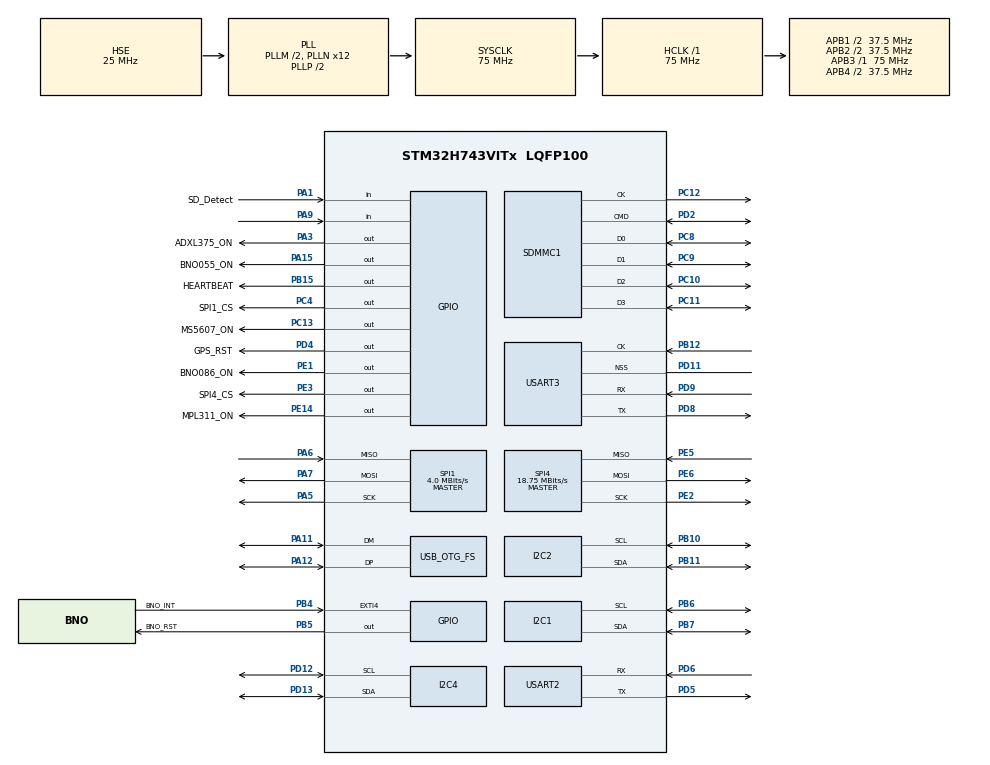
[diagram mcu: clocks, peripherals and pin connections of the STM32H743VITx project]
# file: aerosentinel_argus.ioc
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CORTEX_M7.default_mode_Activation=1
FATFS.BSP.number=1
FATFS0.BSP.STBoard=false
FATFS0.BSP.api=Unknown
FATFS0.BSP.instance=PA1
FATFS0.BSP.ip=GPIO
FATFS0.BSP.mode=Input
FATFS0.BSP.name=Detect_SDIO
FATFS0.BSP.solution=PA1
I2C1.Timing=0x00909FCE
I2C2.Timing=0x00909FCE
I2C4.Timing=0x00909FCE
Mcu.Family=STM32H7
Mcu.Name=STM32H743VITx
Mcu.Package=LQFP100
NVIC.EXTI4_IRQn=true\:0\:0\:false\:false\:true\:true\:true\:true
NVIC.OTG_FS_IRQn=true\:0\:0\:false\:false\:true\:false\:true\:true
NVIC.PriorityGroup=NVIC_PRIORITYGROUP_4
NVIC.TIM2_IRQn=true\:0\:0\:false\:false\:true\:true\:true\:true
PA1.GPIO_Label=SD_Detect
PA1.GPIO_PuPd=GPIO_PULLDOWN
PA1.Signal=GPIO_Input
PA11.Mode=Device_Only
PA11.Signal=USB_OTG_FS_DM
PA12.Mode=Device_Only
PA12.Signal=USB_OTG_FS_DP
PA13\ (JTMS/SWDIO).Mode=Trace_Asynchronous_SW
PA13\ (JTMS/SWDIO).Signal=DEBUG_JTMS-SWDIO
PA14\ (JTCK/SWCLK).Mode=Trace_Asynchronous_SW
PA14\ (JTCK/SWCLK).Signal=DEBUG_JTCK-SWCLK
PA15\ (JTDI).GPIO_Label=BNO055_ON
PA15\ (JTDI).PinState=GPIO_PIN_SET
PA15\ (JTDI).Signal=GPIO_Output
PA3.GPIO_Label=ADXL375_ON
PA3.PinState=GPIO_PIN_SET
PA3.Signal=GPIO_Output
PA5.Mode=Full_Duplex_Master
PA5.Signal=SPI1_SCK
PA6.Mode=Full_Duplex_Master
PA6.Signal=SPI1_MISO
PA7.Mode=Full_Duplex_Master
PA7.Signal=SPI1_MOSI
PA9.Signal=GPIO_Input
PB10.Mode=I2C
PB10.Signal=I2C2_SCL
PB11.Mode=I2C
PB11.Signal=I2C2_SDA
PB12.Mode=Synchronous Slave
PB12.Signal=USART3_CK
PB15.GPIO_Label=HEARTBEAT
PB15.Signal=GPIO_Output
PB3\ (JTDO/TRACESWO).Mode=Trace_Asynchronous_SW
PB3\ (JTDO/TRACESWO).Signal=DEBUG_JTDO-SWO
PB4\ (NJTRST).GPIO_Label=BNO_INT
PB4\ (NJTRST).GPIO_ModeDefaultEXTI=GPIO_MODE_IT_FALLING
PB4\ (NJTRST).GPIO_PuPd=GPIO_PULLUP
PB4\ (NJTRST).Signal=GPXTI4
PB5.GPIO_Label=BNO_RST
PB5.Signal=GPIO_Output
PB6.Mode=I2C
PB6.Signal=I2C1_SCL
PB7.Mode=I2C
PB7.Signal=I2C1_SDA
PC10.Mode=SD_4_bits_Wide_bus
PC10.Signal=SDMMC1_D2
PC11.Mode=SD_4_bits_Wide_bus
PC11.Signal=SDMMC1_D3
PC12.Mode=SD_4_bits_Wide_bus
PC12.Signal=SDMMC1_CK
PC13.GPIO_Label=MS5607_ON
PC13.PinState=GPIO_PIN_SET
PC13.Signal=GPIO_Output
PC14-OSC32_IN\ (OSC32_IN).Mode=LSE-External-Oscillator
PC14-OSC32_IN\ (OSC32_IN).Signal=RCC_OSC32_IN
PC15-OSC32_OUT\ (OSC32_OUT).Mode=LSE-External-Oscillator
PC15-OSC32_OUT\ (OSC32_OUT).Signal=RCC_OSC32_OUT
PC4.GPIO_Label=SPI1_CS
PC4.Signal=GPIO_Output
PC8.Mode=SD_4_bits_Wide_bus
PC8.Signal=SDMMC1_D0
PC9.Mode=SD_4_bits_Wide_bus
PC9.Signal=SDMMC1_D1
PD11.Mode=Hardware NSS Management
PD11.Signal=USART3_NSS
PD12.Mode=I2C
PD12.Signal=I2C4_SCL
PD13.Mode=I2C
PD13.Signal=I2C4_SDA
PD2.Mode=SD_4_bits_Wide_bus
PD2.Signal=SDMMC1_CMD
PD4.GPIO_Label=GPS_RST
PD4.Signal=GPIO_Output
PD5.Mode=Asynchronous
PD5.Signal=USART2_TX
PD6.Mode=Asynchronous
PD6.Signal=USART2_RX
PD8.Mode=Synchronous Slave
PD8.Signal=USART3_TX
PD9.Mode=Synchronous Slave
PD9.Signal=USART3_RX
PE1.GPIO_Label=BNO086_ON
PE1.PinState=GPIO_PIN_SET
PE1.Signal=GPIO_Output
PE14.GPIO_Label=MPL311_ON
PE14.PinState=GPIO_PIN_SET
PE14.Signal=GPIO_Output
PE2.Mode=Full_Duplex_Master
PE2.Signal=SPI4_SCK
PE3.GPIO_Label=SPI4_CS
PE3.Signal=GPIO_Output
PE5.Mode=Full_Duplex_Master
PE5.Signal=SPI4_MISO
PE6.Mode=Full_Duplex_Master
PE6.Signal=SPI4_MOSI
PH0-OSC_IN\ (PH0).Mode=HSE-External-Oscillator
PH0-OSC_IN\ (PH0).Signal=RCC_OSC_IN
PH1-OSC_OUT\ (PH1).Mode=HSE-External-Oscillator
PH1-OSC_OUT\ (PH1).Signal=RCC_OSC_OUT
ProjectManager.HeapSize=0x200
ProjectManager.StackSize=0x400
ProjectManager.TargetToolchain=STM32CubeIDE
RCC.ADCFreq_Value=50390625
RCC.APB1Freq_Value=37500000
RCC.APB2Freq_Value=37500000
RCC.APB3Freq_Value=75000000
RCC.APB4Freq_Value=37500000
RCC.CortexFreq_Value=75000000
RCC.D2PPRE1=RCC_APB1_DIV2
RCC.D2PPRE2=RCC_APB2_DIV2
RCC.D3PPRE=RCC_APB4_DIV2
RCC.DIVM1=2
RCC.DIVN1=12
RCC.DIVQ1=3
RCC.EnbaleCSS=true
RCC.HCLKFreq_Value=75000000
RCC.PLL2FRACN=0
RCC.PLL3FRACN=0
RCC.PLLFRACN=0
RCC.PLLSourceVirtual=RCC_PLLSOURCE_HSE
RCC.SPI123CLockSelection=RCC_SPI123CLKSOURCE_CLKP
RCC.SYSCLKFreq_VALUE=75000000
RCC.SYSCLKSource=RCC_SYSCLKSOURCE_PLLCLK
RCC.USBCLockSelection=RCC_USBCLKSOURCE_HSI48
RCC.USBFreq_Value=48000000
SDMMC1.ClockDiv=0
SPI1.BaudRatePrescaler=SPI_BAUDRATEPRESCALER_16
SPI1.CLKPhase=SPI_PHASE_2EDGE
SPI1.CLKPolarity=SPI_POLARITY_HIGH
SPI1.CalculateBaudRate=4.0 MBits/s
SPI1.DataSize=SPI_DATASIZE_8BIT
SPI1.Direction=SPI_DIRECTION_2LINES
SPI1.Mode=SPI_MODE_MASTER
SPI1.VirtualType=VM_MASTER
SPI4.CalculateBaudRate=18.75 MBits/s
SPI4.Direction=SPI_DIRECTION_2LINES
SPI4.Mode=SPI_MODE_MASTER
SPI4.VirtualType=VM_MASTER
TIM2.AutoReloadPreload=TIM_AUTORELOAD_PRELOAD_ENABLE
TIM2.Period=74
USART2.VirtualMode-Asynchronous=VM_ASYNC
USART3.VirtualMode-Synchronous\ Slave=VM_SYNC
USB_DEVICE.CLASS_NAME_FS=MSC
USB_DEVICE.VirtualMode-MSC_FS=Msc
USB_DEVICE.VirtualModeFS=Msc_FS
USB_OTG_FS.VirtualMode=Device_Only
VP_FATFS_VS_SDIO.Mode=SDIO
VP_MEMORYMAP_VS_MEMORYMAP.Mode=CurAppReg
VP_TIM2_VS_ClockSourceINT.Mode=Internal
VP_USB_DEVICE_VS_USB_DEVICE_MSC_FS.Mode=MSC_FS
board=custom

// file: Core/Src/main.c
/* USER CODE BEGIN Header */
/**
  ******************************************************************************
  * @file           : main.c
  * @brief          : Main program body
  ******************************************************************************
  * @attention
  *
  * Copyright (c) 2024 STMicroelectronics.
  * All rights reserved.
  *
  * This software is licensed under terms that can be found in the LICENSE file
  * in the root directory of this software component.
  * If no LICENSE file comes with this software, it is provided AS-IS.
  *
  ******************************************************************************
  */
/* USER CODE END Header */
#include "main.h"
#include "fatfs.h"
#include "usb_device.h"

/* USER CODE BEGIN Includes */
#include "stdio.h" // printf function
#include "DATA_MANAGEMENT/telemetry_manager.h"
#include "DRIVERS/BNO086/bno086.h"
/* USER CODE END Includes */

I2C_HandleTypeDef hi2c1;
I2C_HandleTypeDef hi2c2;
I2C_HandleTypeDef hi2c4;

SD_HandleTypeDef hsd1;

SPI_HandleTypeDef hspi1;
SPI_HandleTypeDef hspi4;

TIM_HandleTypeDef htim2;

UART_HandleTypeDef huart2;
USART_HandleTypeDef husart3;

/* USER CODE BEGIN PV */
uint32_t count = 0;

// The interrupt variable
extern volatile uint8_t BNO_Ready;

void SystemClock_Config(void);
void PeriphCommonClock_Config(void);
static void MPU_Config(void);
static void MX_GPIO_Init(void);
static void MX_I2C1_Init(void);
static void MX_I2C2_Init(void);
static void MX_I2C4_Init(void);
static void MX_SDMMC1_SD_Init(void);
static void MX_SPI1_Init(void);
static void MX_SPI4_Init(void);
static void MX_USART2_UART_Init(void);
static void MX_USART3_Init(void);
static void MX_TIM2_Init(void);

/* USER CODE BEGIN 0 */
int _write(int file, char *ptr, int len){
	int i=0;
	for(i=0 ; i < len ; i++){
		ITM_SendChar((*ptr++));
	}
	return len;
}

// Interrupt callback function for BMP581 and BNO086
void HAL_GPIO_EXTI_Callback(uint16_t GPIO_Pin) {
  if(GPIO_Pin == BNO_INT_Pin) {
    BNO_Ready = 1;
  }
	__HAL_GPIO_EXTI_CLEAR_IT(GPIO_Pin);
}

//void SetColor(uint8_t red, uint8_t green, uint8_t blue, uint8_t white) {
//    // Set the RED LED
//    if (red) {
//        HAL_GPIO_WritePin(GPIOE, RED_Pin, GPIO_PIN_SET);
//    } else {
//        HAL_GPIO_WritePin(GPIOE, RED_Pin, GPIO_PIN_RESET);
//    }
//
//    // Set the GREEN LED
//    if (green) {
//        HAL_GPIO_WritePin(GPIOE, GREEN_Pin, GPIO_PIN_SET);
//    } else {
//        HAL_GPIO_WritePin(GPIOE, GREEN_Pin, GPIO_PIN_RESET);
//    }
//
//    // Set the BLUE LED
//    if (blue) {
//        HAL_GPIO_WritePin(GPIOB, BLUE_Pin, GPIO_PIN_SET);
//    } else {
//        HAL_GPIO_WritePin(GPIOB, BLUE_Pin, GPIO_PIN_RESET);
//    }
//
//    // Set the WHITE LED
//    if (white) {
//        HAL_GPIO_WritePin(GPIOE, WHITE_Pin, GPIO_PIN_SET);
//    } else {
//        HAL_GPIO_WritePin(GPIOE, WHITE_Pin, GPIO_PIN_RESET);
//    }
//
//    if(!red && !green && !blue && !white) {
//        HAL_GPIO_WritePin(GPIOE, RED_Pin, GPIO_PIN_RESET);
//        HAL_GPIO_WritePin(GPIOE, GREEN_Pin, GPIO_PIN_RESET);
//        HAL_GPIO_WritePin(GPIOB, BLUE_Pin, GPIO_PIN_RESET);
//        HAL_GPIO_WritePin(GPIOE, WHITE_Pin, GPIO_PIN_RESET);
//    }
//}

/* USER CODE END 0 */

int main(void)
{

  /* MPU Configuration--------------------------------------------------------*/
  MPU_Config();

  /* MCU Configuration--------------------------------------------------------*/

  /* Reset of all peripherals, Initializes the Flash interface and the Systick. */
  HAL_Init();

  /* Configure the system clock */
  SystemClock_Config();

  /* Configure the peripherals common clocks */
  PeriphCommonClock_Config();

  /* Initialize all configured peripherals */
  MX_GPIO_Init();
  MX_I2C1_Init();
  MX_I2C2_Init();
  MX_I2C4_Init();
  MX_SDMMC1_SD_Init();
  MX_SPI1_Init();
  MX_SPI4_Init();
  MX_USART2_UART_Init();
  MX_USART3_Init();
  MX_FATFS_Init();
  MX_USB_DEVICE_Init();
  MX_TIM2_Init();
  /* USER CODE BEGIN 2 */

  printf("Aerosentinel Argus: Navigation Module - Pre-production Module \r\n");

  SensorManager_Init();
//  TestTelemetry();

  /* USER CODE END 2 */

  /* Infinite loop */
  /* USER CODE BEGIN WHILE */
  while (1)
  {

		// If BNO086 triggers interrupt, check for new data
//		if(BNO_Ready) {
//			// If we have new data from BNO
//			if((BNO_dataAvailable() == HAL_OK) && (sensorData.sensorId == ROTATION_VECTOR)) {
//				sensorData.sensorId = 0;
//				quaternionUpdate(&sensorData.SenVal.RotationVector);
//				printf("Y = %.3lf P = %.3lf R = %.3lf \r\n", rpy.Yaw, rpy.Pitch, rpy.Roll);
//			}
//			}

    /* USER CODE END WHILE */

    /* USER CODE BEGIN 3 */
//	  count++;
//	  printf("Hello World from Argus Module V2! Count =%lu \n", count); // Hello World Test
//	  HAL_Delay(1000);
//
//      SetColor(1, 0, 0, 0); // RED ON
//      HAL_Delay(1000);
//
//      SetColor(0, 1, 0, 0); // GREEN ON
//      HAL_Delay(1000);
//
//      SetColor(0, 0, 1, 0); // BLUE ON
//      HAL_Delay(1000);
//
//      SetColor(0, 0, 0, 1); // WHITE ON
//      HAL_Delay(1000);
//
//      SetColor(1, 1, 0, 0); // RED + GREEN (YELLOW)
//      HAL_Delay(1000);
//
//      SetColor(0, 1, 1, 0); // GREEN + BLUE (CYAN)
//      HAL_Delay(1000);
//
//      SetColor(1, 0, 1, 0); // RED + BLUE (MAGENTA)
//      HAL_Delay(1000);
//
//      SetColor(1, 1, 1, 1); // ALL ON (WHITE)
//      HAL_Delay(1000);
//
//      SetColor(0, 0, 0, 0); // All OFF
//      HAL_Delay(1000);
  }
  /* USER CODE END 3 */
}

void SystemClock_Config(void)
{
  RCC_OscInitTypeDef RCC_OscInitStruct = {0};
  RCC_ClkInitTypeDef RCC_ClkInitStruct = {0};

  /** Supply configuration update enable
  */
  HAL_PWREx_ConfigSupply(PWR_LDO_SUPPLY);

  /** Configure the main internal regulator output voltage
  */
  __HAL_PWR_VOLTAGESCALING_CONFIG(PWR_REGULATOR_VOLTAGE_SCALE3);

  while(!__HAL_PWR_GET_FLAG(PWR_FLAG_VOSRDY)) {}

  /** Initializes the RCC Oscillators according to the specified parameters
  * in the RCC_OscInitTypeDef structure.
  */
  RCC_OscInitStruct.OscillatorType = RCC_OSCILLATORTYPE_HSI48|RCC_OSCILLATORTYPE_HSI
                              |RCC_OSCILLATORTYPE_HSE;
  RCC_OscInitStruct.HSEState = RCC_HSE_ON;
  RCC_OscInitStruct.HSIState = RCC_HSI_DIV1;
  RCC_OscInitStruct.HSICalibrationValue = RCC_HSICALIBRATION_DEFAULT;
  RCC_OscInitStruct.HSI48State = RCC_HSI48_ON;
  RCC_OscInitStruct.PLL.PLLState = RCC_PLL_ON;
  RCC_OscInitStruct.PLL.PLLSource = RCC_PLLSOURCE_HSE;
  RCC_OscInitStruct.PLL.PLLM = 2;
  RCC_OscInitStruct.PLL.PLLN = 12;
  RCC_OscInitStruct.PLL.PLLP = 2;
  RCC_OscInitStruct.PLL.PLLQ = 3;
  RCC_OscInitStruct.PLL.PLLR = 2;
  RCC_OscInitStruct.PLL.PLLRGE = RCC_PLL1VCIRANGE_3;
  RCC_OscInitStruct.PLL.PLLVCOSEL = RCC_PLL1VCOMEDIUM;
  RCC_OscInitStruct.PLL.PLLFRACN = 0;
  if (HAL_RCC_OscConfig(&RCC_OscInitStruct) != HAL_OK)
  {
    Error_Handler();
  }

  /** Initializes the CPU, AHB and APB buses clocks
  */
  RCC_ClkInitStruct.ClockType = RCC_CLOCKTYPE_HCLK|RCC_CLOCKTYPE_SYSCLK
                              |RCC_CLOCKTYPE_PCLK1|RCC_CLOCKTYPE_PCLK2
                              |RCC_CLOCKTYPE_D3PCLK1|RCC_CLOCKTYPE_D1PCLK1;
  RCC_ClkInitStruct.SYSCLKSource = RCC_SYSCLKSOURCE_PLLCLK;
  RCC_ClkInitStruct.SYSCLKDivider = RCC_SYSCLK_DIV1;
  RCC_ClkInitStruct.AHBCLKDivider = RCC_HCLK_DIV1;
  RCC_ClkInitStruct.APB3CLKDivider = RCC_APB3_DIV1;
  RCC_ClkInitStruct.APB1CLKDivider = RCC_APB1_DIV2;
  RCC_ClkInitStruct.APB2CLKDivider = RCC_APB2_DIV2;
  RCC_ClkInitStruct.APB4CLKDivider = RCC_APB4_DIV2;

  if (HAL_RCC_ClockConfig(&RCC_ClkInitStruct, FLASH_LATENCY_1) != HAL_OK)
  {
    Error_Handler();
  }

  /** Enables the Clock Security System
  */
  HAL_RCC_EnableCSS();
}

void PeriphCommonClock_Config(void)
{
  RCC_PeriphCLKInitTypeDef PeriphClkInitStruct = {0};

  /** Initializes the peripherals clock
  */
  PeriphClkInitStruct.PeriphClockSelection = RCC_PERIPHCLK_CKPER;
  PeriphClkInitStruct.CkperClockSelection = RCC_CLKPSOURCE_HSI;
  if (HAL_RCCEx_PeriphCLKConfig(&PeriphClkInitStruct) != HAL_OK)
  {
    Error_Handler();
  }
}

static void MX_I2C1_Init(void)
{

  hi2c1.Instance = I2C1;
  hi2c1.Init.Timing = 0x00909FCE;
  hi2c1.Init.OwnAddress1 = 0;
  hi2c1.Init.AddressingMode = I2C_ADDRESSINGMODE_7BIT;
  hi2c1.Init.DualAddressMode = I2C_DUALADDRESS_DISABLE;
  hi2c1.Init.OwnAddress2 = 0;
  hi2c1.Init.OwnAddress2Masks = I2C_OA2_NOMASK;
  hi2c1.Init.GeneralCallMode = I2C_GENERALCALL_DISABLE;
  hi2c1.Init.NoStretchMode = I2C_NOSTRETCH_DISABLE;
  if (HAL_I2C_Init(&hi2c1) != HAL_OK)
  {
    Error_Handler();
  }

  /** Configure Analogue filter
  */
  if (HAL_I2CEx_ConfigAnalogFilter(&hi2c1, I2C_ANALOGFILTER_ENABLE) != HAL_OK)
  {
    Error_Handler();
  }

  /** Configure Digital filter
  */
  if (HAL_I2CEx_ConfigDigitalFilter(&hi2c1, 0) != HAL_OK)
  {
    Error_Handler();
  }

}

static void MX_I2C2_Init(void)
{

  hi2c2.Instance = I2C2;
  hi2c2.Init.Timing = 0x00909FCE;
  hi2c2.Init.OwnAddress1 = 0;
  hi2c2.Init.AddressingMode = I2C_ADDRESSINGMODE_7BIT;
  hi2c2.Init.DualAddressMode = I2C_DUALADDRESS_DISABLE;
  hi2c2.Init.OwnAddress2 = 0;
  hi2c2.Init.OwnAddress2Masks = I2C_OA2_NOMASK;
  hi2c2.Init.GeneralCallMode = I2C_GENERALCALL_DISABLE;
  hi2c2.Init.NoStretchMode = I2C_NOSTRETCH_DISABLE;
  if (HAL_I2C_Init(&hi2c2) != HAL_OK)
  {
    Error_Handler();
  }

  /** Configure Analogue filter
  */
  if (HAL_I2CEx_ConfigAnalogFilter(&hi2c2, I2C_ANALOGFILTER_ENABLE) != HAL_OK)
  {
    Error_Handler();
  }

  /** Configure Digital filter
  */
  if (HAL_I2CEx_ConfigDigitalFilter(&hi2c2, 0) != HAL_OK)
  {
    Error_Handler();
  }

}

static void MX_I2C4_Init(void)
{

  hi2c4.Instance = I2C4;
  hi2c4.Init.Timing = 0x00909FCE;
  hi2c4.Init.OwnAddress1 = 0;
  hi2c4.Init.AddressingMode = I2C_ADDRESSINGMODE_7BIT;
  hi2c4.Init.DualAddressMode = I2C_DUALADDRESS_DISABLE;
  hi2c4.Init.OwnAddress2 = 0;
  hi2c4.Init.OwnAddress2Masks = I2C_OA2_NOMASK;
  hi2c4.Init.GeneralCallMode = I2C_GENERALCALL_DISABLE;
  hi2c4.Init.NoStretchMode = I2C_NOSTRETCH_DISABLE;
  if (HAL_I2C_Init(&hi2c4) != HAL_OK)
  {
    Error_Handler();
  }

  /** Configure Analogue filter
  */
  if (HAL_I2CEx_ConfigAnalogFilter(&hi2c4, I2C_ANALOGFILTER_ENABLE) != HAL_OK)
  {
    Error_Handler();
  }

  /** Configure Digital filter
  */
  if (HAL_I2CEx_ConfigDigitalFilter(&hi2c4, 0) != HAL_OK)
  {
    Error_Handler();
  }

}

static void MX_SDMMC1_SD_Init(void)
{

  hsd1.Instance = SDMMC1;
  hsd1.Init.ClockEdge = SDMMC_CLOCK_EDGE_RISING;
  hsd1.Init.ClockPowerSave = SDMMC_CLOCK_POWER_SAVE_DISABLE;
  hsd1.Init.BusWide = SDMMC_BUS_WIDE_4B;
  hsd1.Init.HardwareFlowControl = SDMMC_HARDWARE_FLOW_CONTROL_DISABLE;
  hsd1.Init.ClockDiv = 0;
  /* USER CODE BEGIN SDMMC1_Init 2 */
  HAL_SD_Init(&hsd1);
  HAL_SD_InitCard(&hsd1);
  //printf("%d \n",ret);
  /* USER CODE END SDMMC1_Init 2 */

}

static void MX_SPI1_Init(void)
{

  /* SPI1 parameter configuration*/
  hspi1.Instance = SPI1;
  hspi1.Init.Mode = SPI_MODE_MASTER;
  hspi1.Init.Direction = SPI_DIRECTION_2LINES;
  hspi1.Init.DataSize = SPI_DATASIZE_8BIT;
  hspi1.Init.CLKPolarity = SPI_POLARITY_HIGH;
  hspi1.Init.CLKPhase = SPI_PHASE_2EDGE;
  hspi1.Init.NSS = SPI_NSS_SOFT;
  hspi1.Init.BaudRatePrescaler = SPI_BAUDRATEPRESCALER_16;
  hspi1.Init.FirstBit = SPI_FIRSTBIT_MSB;
  hspi1.Init.TIMode = SPI_TIMODE_DISABLE;
  hspi1.Init.CRCCalculation = SPI_CRCCALCULATION_DISABLE;
  hspi1.Init.CRCPolynomial = 0x0;
  hspi1.Init.NSSPMode = SPI_NSS_PULSE_ENABLE;
  hspi1.Init.NSSPolarity = SPI_NSS_POLARITY_LOW;
  hspi1.Init.FifoThreshold = SPI_FIFO_THRESHOLD_01DATA;
  hspi1.Init.TxCRCInitializationPattern = SPI_CRC_INITIALIZATION_ALL_ZERO_PATTERN;
  hspi1.Init.RxCRCInitializationPattern = SPI_CRC_INITIALIZATION_ALL_ZERO_PATTERN;
  hspi1.Init.MasterSSIdleness = SPI_MASTER_SS_IDLENESS_00CYCLE;
  hspi1.Init.MasterInterDataIdleness = SPI_MASTER_INTERDATA_IDLENESS_00CYCLE;
  hspi1.Init.MasterReceiverAutoSusp = SPI_MASTER_RX_AUTOSUSP_DISABLE;
  hspi1.Init.MasterKeepIOState = SPI_MASTER_KEEP_IO_STATE_DISABLE;
  hspi1.Init.IOSwap = SPI_IO_SWAP_DISABLE;
  if (HAL_SPI_Init(&hspi1) != HAL_OK)
  {
    Error_Handler();
  }

}

static void MX_SPI4_Init(void)
{

  /* SPI4 parameter configuration*/
  hspi4.Instance = SPI4;
  hspi4.Init.Mode = SPI_MODE_MASTER;
  hspi4.Init.Direction = SPI_DIRECTION_2LINES;
  hspi4.Init.DataSize = SPI_DATASIZE_4BIT;
  hspi4.Init.CLKPolarity = SPI_POLARITY_LOW;
  hspi4.Init.CLKPhase = SPI_PHASE_1EDGE;
  hspi4.Init.NSS = SPI_NSS_SOFT;
  hspi4.Init.BaudRatePrescaler = SPI_BAUDRATEPRESCALER_2;
  hspi4.Init.FirstBit = SPI_FIRSTBIT_MSB;
  hspi4.Init.TIMode = SPI_TIMODE_DISABLE;
  hspi4.Init.CRCCalculation = SPI_CRCCALCULATION_DISABLE;
  hspi4.Init.CRCPolynomial = 0x0;
  hspi4.Init.NSSPMode = SPI_NSS_PULSE_ENABLE;
  hspi4.Init.NSSPolarity = SPI_NSS_POLARITY_LOW;
  hspi4.Init.FifoThreshold = SPI_FIFO_THRESHOLD_01DATA;
  hspi4.Init.TxCRCInitializationPattern = SPI_CRC_INITIALIZATION_ALL_ZERO_PATTERN;
  hspi4.Init.RxCRCInitializationPattern = SPI_CRC_INITIALIZATION_ALL_ZERO_PATTERN;
  hspi4.Init.MasterSSIdleness = SPI_MASTER_SS_IDLENESS_00CYCLE;
  hspi4.Init.MasterInterDataIdleness = SPI_MASTER_INTERDATA_IDLENESS_00CYCLE;
  hspi4.Init.MasterReceiverAutoSusp = SPI_MASTER_RX_AUTOSUSP_DISABLE;
  hspi4.Init.MasterKeepIOState = SPI_MASTER_KEEP_IO_STATE_DISABLE;
  hspi4.Init.IOSwap = SPI_IO_SWAP_DISABLE;
  if (HAL_SPI_Init(&hspi4) != HAL_OK)
  {
    Error_Handler();
  }

}

static void MX_TIM2_Init(void)
{

  TIM_ClockConfigTypeDef sClockSourceConfig = {0};
  TIM_MasterConfigTypeDef sMasterConfig = {0};

  htim2.Instance = TIM2;
  htim2.Init.Prescaler = 0;
  htim2.Init.CounterMode = TIM_COUNTERMODE_UP;
  htim2.Init.Period = 74;
  htim2.Init.ClockDivision = TIM_CLOCKDIVISION_DIV1;
  htim2.Init.AutoReloadPreload = TIM_AUTORELOAD_PRELOAD_ENABLE;
  if (HAL_TIM_Base_Init(&htim2) != HAL_OK)
  {
    Error_Handler();
  }
  sClockSourceConfig.ClockSource = TIM_CLOCKSOURCE_INTERNAL;
  if (HAL_TIM_ConfigClockSource(&htim2, &sClockSourceConfig) != HAL_OK)
  {
    Error_Handler();
  }
  sMasterConfig.MasterOutputTrigger = TIM_TRGO_RESET;
  sMasterConfig.MasterSlaveMode = TIM_MASTERSLAVEMODE_DISABLE;
  if (HAL_TIMEx_MasterConfigSynchronization(&htim2, &sMasterConfig) != HAL_OK)
  {
    Error_Handler();
  }

}

static void MX_USART2_UART_Init(void)
{

  huart2.Instance = USART2;
  huart2.Init.BaudRate = 115200;
  huart2.Init.WordLength = UART_WORDLENGTH_8B;
  huart2.Init.StopBits = UART_STOPBITS_1;
  huart2.Init.Parity = UART_PARITY_NONE;
  huart2.Init.Mode = UART_MODE_TX_RX;
  huart2.Init.HwFlowCtl = UART_HWCONTROL_NONE;
  huart2.Init.OverSampling = UART_OVERSAMPLING_16;
  huart2.Init.OneBitSampling = UART_ONE_BIT_SAMPLE_DISABLE;
  huart2.Init.ClockPrescaler = UART_PRESCALER_DIV1;
  huart2.AdvancedInit.AdvFeatureInit = UART_ADVFEATURE_NO_INIT;
  if (HAL_UART_Init(&huart2) != HAL_OK)
  {
    Error_Handler();
  }
  if (HAL_UARTEx_SetTxFifoThreshold(&huart2, UART_TXFIFO_THRESHOLD_1_8) != HAL_OK)
  {
    Error_Handler();
  }
  if (HAL_UARTEx_SetRxFifoThreshold(&huart2, UART_RXFIFO_THRESHOLD_1_8) != HAL_OK)
  {
    Error_Handler();
  }
  if (HAL_UARTEx_DisableFifoMode(&huart2) != HAL_OK)
  {
    Error_Handler();
  }

}

static void MX_USART3_Init(void)
{

  husart3.Instance = USART3;
  husart3.Init.BaudRate = 115200;
  husart3.Init.WordLength = USART_WORDLENGTH_8B;
  husart3.Init.StopBits = USART_STOPBITS_1;
  husart3.Init.Parity = USART_PARITY_NONE;
  husart3.Init.Mode = USART_MODE_TX_RX;
  husart3.Init.CLKPolarity = USART_POLARITY_LOW;
  husart3.Init.CLKPhase = USART_PHASE_1EDGE;
  husart3.Init.CLKLastBit = USART_LASTBIT_DISABLE;
  husart3.Init.ClockPrescaler = USART_PRESCALER_DIV1;
  husart3.SlaveMode = USART_SLAVEMODE_ENABLE;
  if (HAL_USART_Init(&husart3) != HAL_OK)
  {
    Error_Handler();
  }
  if (HAL_USARTEx_SetTxFifoThreshold(&husart3, USART_TXFIFO_THRESHOLD_1_8) != HAL_OK)
  {
    Error_Handler();
  }
  if (HAL_USARTEx_SetRxFifoThreshold(&husart3, USART_RXFIFO_THRESHOLD_1_8) != HAL_OK)
  {
    Error_Handler();
  }
  if (HAL_USARTEx_ConfigNSS(&husart3, USART_NSS_HARD) != HAL_OK)
  {
    Error_Handler();
  }
  if (HAL_USARTEx_DisableFifoMode(&husart3) != HAL_OK)
  {
    Error_Handler();
  }
  if (HAL_USARTEx_EnableSlaveMode(&husart3) != HAL_OK)
  {
    Error_Handler();
  }

}

static void MX_GPIO_Init(void)
{
  GPIO_InitTypeDef GPIO_InitStruct = {0};

  /* GPIO Ports Clock Enable */
  __HAL_RCC_GPIOE_CLK_ENABLE();
  __HAL_RCC_GPIOC_CLK_ENABLE();
  __HAL_RCC_GPIOH_CLK_ENABLE();
  __HAL_RCC_GPIOA_CLK_ENABLE();
  __HAL_RCC_GPIOB_CLK_ENABLE();
  __HAL_RCC_GPIOD_CLK_ENABLE();

  /*Configure GPIO pin Output Level */
  HAL_GPIO_WritePin(SPI4_CS_GPIO_Port, SPI4_CS_Pin, GPIO_PIN_RESET);

  /*Configure GPIO pin Output Level */
  HAL_GPIO_WritePin(MS5607_ON_GPIO_Port, MS5607_ON_Pin, GPIO_PIN_SET);

  /*Configure GPIO pin Output Level */
  HAL_GPIO_WritePin(GPIOA, ADXL375_ON_Pin|BNO055_ON_Pin, GPIO_PIN_SET);

  /*Configure GPIO pin Output Level */
  HAL_GPIO_WritePin(SPI1_CS_GPIO_Port, SPI1_CS_Pin, GPIO_PIN_RESET);

  /*Configure GPIO pin Output Level */
  HAL_GPIO_WritePin(GPIOE, MPL311_ON_Pin|BNO086_ON_Pin, GPIO_PIN_SET);

  /*Configure GPIO pin Output Level */
  HAL_GPIO_WritePin(GPIOB, HEARTBEAT_Pin|BNO_RST_Pin, GPIO_PIN_RESET);

  /*Configure GPIO pin Output Level */
  HAL_GPIO_WritePin(GPS_RST_GPIO_Port, GPS_RST_Pin, GPIO_PIN_RESET);

  /*Configure GPIO pins : SPI4_CS_Pin MPL311_ON_Pin BNO086_ON_Pin */
  GPIO_InitStruct.Pin = SPI4_CS_Pin|MPL311_ON_Pin|BNO086_ON_Pin;
  GPIO_InitStruct.Mode = GPIO_MODE_OUTPUT_PP;
  GPIO_InitStruct.Pull = GPIO_NOPULL;
  GPIO_InitStruct.Speed = GPIO_SPEED_FREQ_LOW;
  HAL_GPIO_Init(GPIOE, &GPIO_InitStruct);

  /*Configure GPIO pins : MS5607_ON_Pin SPI1_CS_Pin */
  GPIO_InitStruct.Pin = MS5607_ON_Pin|SPI1_CS_Pin;
  GPIO_InitStruct.Mode = GPIO_MODE_OUTPUT_PP;
  GPIO_InitStruct.Pull = GPIO_NOPULL;
  GPIO_InitStruct.Speed = GPIO_SPEED_FREQ_LOW;
  HAL_GPIO_Init(GPIOC, &GPIO_InitStruct);

  /*Configure GPIO pin : SD_Detect_Pin */
  GPIO_InitStruct.Pin = SD_Detect_Pin;
  GPIO_InitStruct.Mode = GPIO_MODE_INPUT;
  GPIO_InitStruct.Pull = GPIO_PULLDOWN;
  HAL_GPIO_Init(SD_Detect_GPIO_Port, &GPIO_InitStruct);

  /*Configure GPIO pins : ADXL375_ON_Pin BNO055_ON_Pin */
  GPIO_InitStruct.Pin = ADXL375_ON_Pin|BNO055_ON_Pin;
  GPIO_InitStruct.Mode = GPIO_MODE_OUTPUT_PP;
  GPIO_InitStruct.Pull = GPIO_NOPULL;
  GPIO_InitStruct.Speed = GPIO_SPEED_FREQ_LOW;
  HAL_GPIO_Init(GPIOA, &GPIO_InitStruct);

  /*Configure GPIO pins : HEARTBEAT_Pin BNO_RST_Pin */
  GPIO_InitStruct.Pin = HEARTBEAT_Pin|BNO_RST_Pin;
  GPIO_InitStruct.Mode = GPIO_MODE_OUTPUT_PP;
  GPIO_InitStruct.Pull = GPIO_NOPULL;
  GPIO_InitStruct.Speed = GPIO_SPEED_FREQ_LOW;
  HAL_GPIO_Init(GPIOB, &GPIO_InitStruct);

  /*Configure GPIO pin : PA9 */
  GPIO_InitStruct.Pin = GPIO_PIN_9;
  GPIO_InitStruct.Mode = GPIO_MODE_INPUT;
  GPIO_InitStruct.Pull = GPIO_NOPULL;
  HAL_GPIO_Init(GPIOA, &GPIO_InitStruct);

  /*Configure GPIO pin : GPS_RST_Pin */
  GPIO_InitStruct.Pin = GPS_RST_Pin;
  GPIO_InitStruct.Mode = GPIO_MODE_OUTPUT_PP;
  GPIO_InitStruct.Pull = GPIO_NOPULL;
  GPIO_InitStruct.Speed = GPIO_SPEED_FREQ_LOW;
  HAL_GPIO_Init(GPS_RST_GPIO_Port, &GPIO_InitStruct);

  /*Configure GPIO pin : BNO_INT_Pin */
  GPIO_InitStruct.Pin = BNO_INT_Pin;
  GPIO_InitStruct.Mode = GPIO_MODE_IT_FALLING;
  GPIO_InitStruct.Pull = GPIO_PULLUP;
  HAL_GPIO_Init(BNO_INT_GPIO_Port, &GPIO_InitStruct);

  /* EXTI interrupt init*/
  HAL_NVIC_SetPriority(EXTI4_IRQn, 0, 0);
  HAL_NVIC_EnableIRQ(EXTI4_IRQn);

}

 /* MPU Configuration */

void MPU_Config(void)
{
  MPU_Region_InitTypeDef MPU_InitStruct = {0};

  /* Disables the MPU */
  HAL_MPU_Disable();

  /** Initializes and configures the Region and the memory to be protected
  */
  MPU_InitStruct.Enable = MPU_REGION_ENABLE;
  MPU_InitStruct.Number = MPU_REGION_NUMBER0;
  MPU_InitStruct.BaseAddress = 0x0;
  MPU_InitStruct.Size = MPU_REGION_SIZE_4GB;
  MPU_InitStruct.SubRegionDisable = 0x87;
  MPU_InitStruct.TypeExtField = MPU_TEX_LEVEL0;
  MPU_InitStruct.AccessPermission = MPU_REGION_NO_ACCESS;
  MPU_InitStruct.DisableExec = MPU_INSTRUCTION_ACCESS_DISABLE;
  MPU_InitStruct.IsShareable = MPU_ACCESS_SHAREABLE;
  MPU_InitStruct.IsCacheable = MPU_ACCESS_NOT_CACHEABLE;
  MPU_InitStruct.IsBufferable = MPU_ACCESS_NOT_BUFFERABLE;

  HAL_MPU_ConfigRegion(&MPU_InitStruct);
  /* Enables the MPU */
  HAL_MPU_Enable(MPU_PRIVILEGED_DEFAULT);

}

void Error_Handler(void)
{
  __disable_irq();
  while (1)
  {
  }
}
